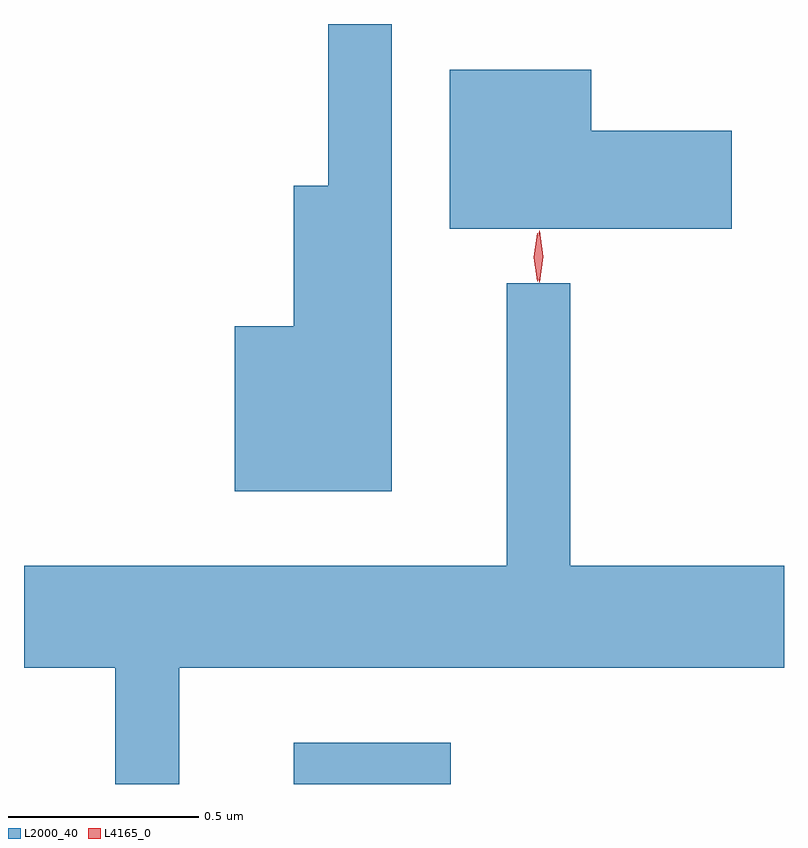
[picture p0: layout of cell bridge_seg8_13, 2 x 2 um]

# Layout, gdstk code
import gdstk
lib = gdstk.Library(unit=1e-6, precision=1e-09)
def R(c, l, rs):  # rectangles x0, y0, x1, y1
    for r in rs: c.add(gdstk.rectangle(r[:2], r[2:], *l))
def P(c, l, *ps):  # polygons
    for p in ps: c.add(gdstk.Polygon(p, *l))
L2000_40 = (2000, 40)
L4165_0 = (4165, 0)

bridge_seg8_13 = lib.new_cell('bridge_seg8_13')
R(bridge_seg8_13, L2000_40, [(1742.071,1887.17,1742.484,1887.279)])
P(bridge_seg8_13, L2000_40, [(1742.329,1889.17),(1742.161,1889.17),(1742.161,1888.744),(1742.071,1888.744),(1742.071,1888.374),(1741.916,1888.374),(1741.916,1887.941),(1742.329,1887.941)],
  [(1743.224,1888.889),(1742.854,1888.889),(1742.854,1889.049),(1742.481,1889.049),(1742.481,1888.631),(1743.224,1888.631)],
  [(1741.769,1887.476),(1743.361,1887.476),(1743.361,1887.744),(1742.799,1887.744),(1742.799,1888.488),(1742.631,1888.488),(1742.631,1887.744),(1741.361,1887.744),(1741.361,1887.476),(1741.601,1887.476),(1741.601,1887.17),(1741.769,1887.17)])
P(bridge_seg8_13, L4165_0, [(1742.717,1888.49),(1742.717,1888.49),(1742.707,1888.558),(1742.717,1888.626),(1742.717,1888.626),(1742.718,1888.626),(1742.727,1888.558),(1742.718,1888.49)],
  [(1742.712,1888.493),(1742.702,1888.556),(1742.712,1888.619),(1742.712,1888.62),(1742.713,1888.619),(1742.722,1888.556),(1742.713,1888.493),(1742.713,1888.493)])

lib.write_gds('bridge_seg8_13.gds')
